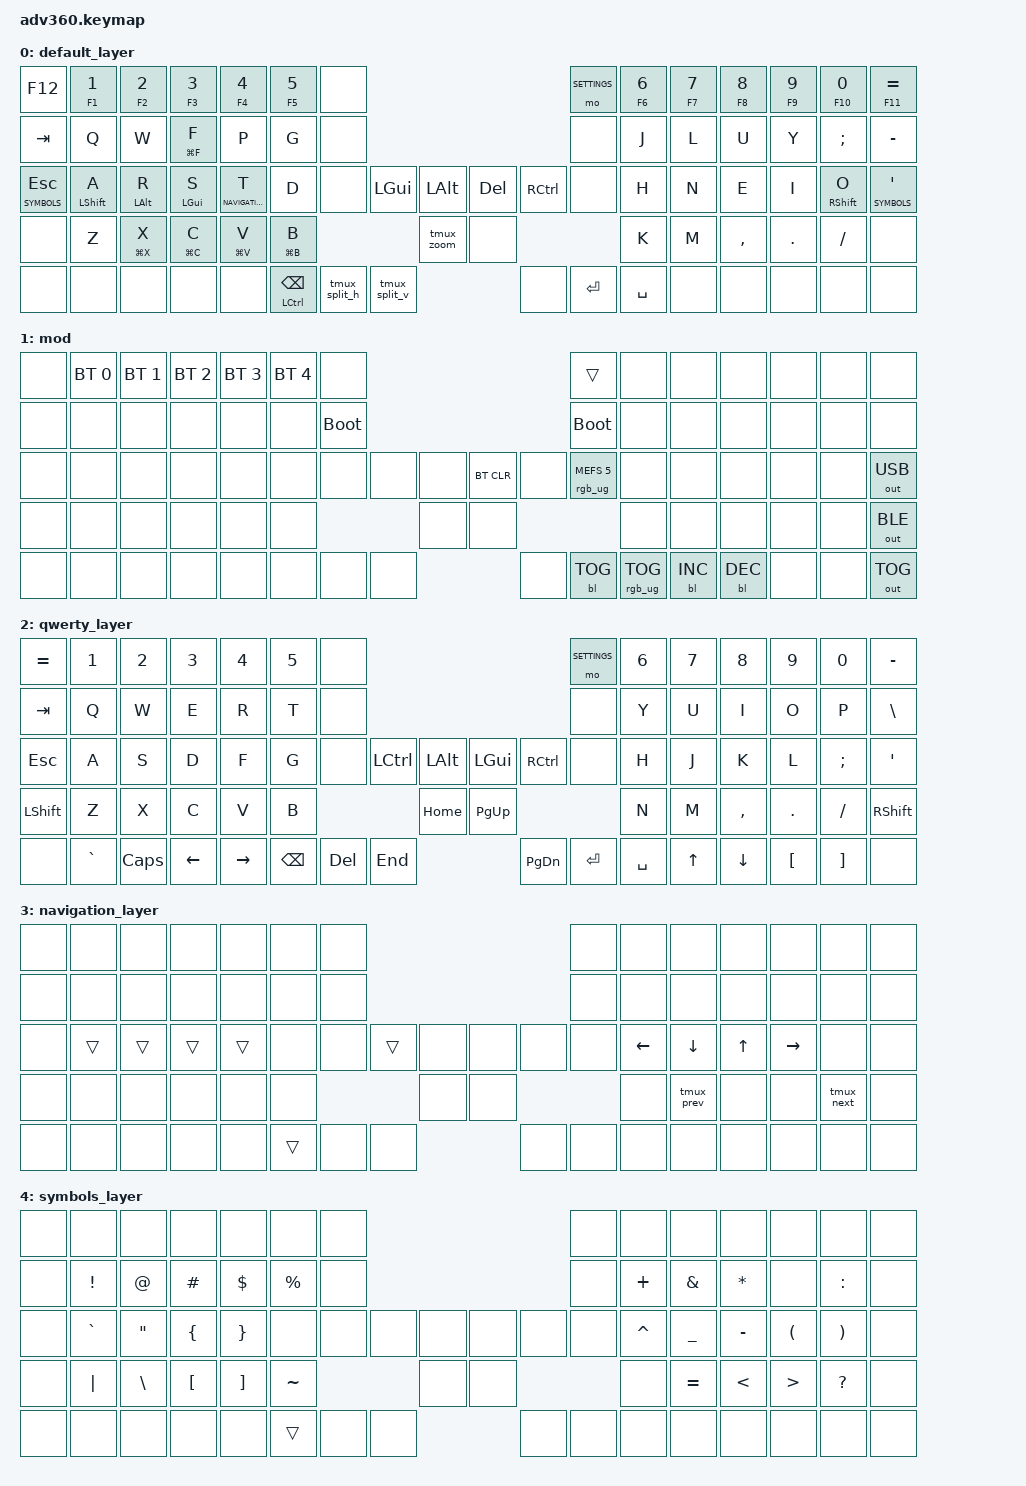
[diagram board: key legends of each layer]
#include <behaviors.dtsi>
#include <dt-bindings/zmk/keys.h>
#include <dt-bindings/zmk/bt.h>
#include <dt-bindings/zmk/rgb.h>
#include <dt-bindings/zmk/backlight.h>
#include <dt-bindings/zmk/outputs.h>

#define DEFAULT    0
#define SETTINGS   1
#define QWERTY     2
#define NAVIGATION 3
#define SYMBOLS    4

// NOTES:
// * 'tapping-term-ms':
//   - Increase value if triggers the hold action when you meant to tap
//   - Decrease value if it feels too long for hold action to trigger
#define DEFAULT_TT 150

// NOTES:
// * 'quick-tap-ms':
//   - Allows to repeart tap functionality of the 'hold-tap' key by holding it after
//     the initial press.
//   - Increase value if you can't get a key to repeat after press-hold action.
#define DEFAULT_QT 200

/ {
    behaviors {
      #include "macros.dtsi"

      tht: tap_hold_tag {
          compatible = "zmk,behavior-hold-tap";
          label = "tap_hold_tag";
          #binding-cells = <2>;
          tapping-term-ms = <DEFAULT_TT>;
          quick-tap-ms = <DEFAULT_QT>;
          flavor = "tap-preferred";
          bindings = <&kp>, <&kp>;
      };
      bht: balanced_hold_tap {
          compatible = "zmk,behavior-hold-tap";
          label = "balanced_hold_tap";
          #binding-cells = <2>;
          tapping-term-ms = <DEFAULT_TT>;
          quick-tap-ms = <DEFAULT_QT>;
          flavor = "balanced";
          bindings = <&kp>, <&kp>;
      };
      tlt: tap_layer_tap {
          compatible = "zmk,behavior-hold-tap";
          label = "tap_layer_tap";
          #binding-cells = <2>;
          tapping-term-ms = <DEFAULT_TT>;
          quick-tap-ms = <DEFAULT_QT>;
          flavor = "tap-preferred";
          bindings = <&mo>, <&kp>;
      };
      blt: balanced_layer_tap {
          compatible = "zmk,behavior-hold-tap";
          label = "BALANCED_LAYER_TAP";
          #binding-cells = <2>;
          tapping-term-ms = <DEFAULT_TT>;
          quick-tap-ms = <DEFAULT_QT>;
          flavor = "balanced";
          bindings = <&mo>, <&kp>;
      };
    };
    macros {
      ZMK_MACRO(tmux_prev,
          wait-ms = <30>;
          tap-ms = <40>;
          bindings
            = <&macro_press &kp LALT>
            , <&macro_tap &kp LEFT>
            , <&macro_release &kp LALT>
            ;
      )
      ZMK_MACRO(tmux_next,
          wait-ms = <30>;
          tap-ms = <40>;
          bindings
            = <&macro_press &kp LALT>
            , <&macro_tap &kp RIGHT>
            , <&macro_release &kp LALT>
            ;
      )
      ZMK_MACRO(tmux_split_v,
          wait-ms = <30>;
          tap-ms = <40>;
          bindings
            = <&macro_press &kp LCTRL>
            , <&macro_tap &kp B>
            , <&macro_release &kp LCTRL>
            , <&macro_tap &kp BACKSLASH &kp ESC &kp I>
            ;
      )
      ZMK_MACRO(tmux_split_h,
          wait-ms = <30>;
          tap-ms = <40>;
          bindings
            = <&macro_press &kp LCTRL>
            , <&macro_tap &kp B>
            , <&macro_release &kp LCTRL>
            , <&macro_tap &kp MINUS &kp ESC &kp I>
            ;
      )
      ZMK_MACRO(tmux_zoom,
          wait-ms = <30>;
          tap-ms = <40>;
          bindings
            = <&macro_press &kp LCTRL>
            , <&macro_tap &kp B>
            , <&macro_release &kp LCTRL>
            , <&macro_tap &kp Z>
            ;
      )
    };

  #define __SYM_ESC__   &blt SYMBOLS ESC
  #define __SYM_QUOTE__ &blt SYMBOLS SINGLE_QUOTE

  #define __0__ &tht F10 N0
  #define __1__ &tht F1  N1
  #define __2__ &tht F2  N2
  #define __3__ &tht F3  N3
  #define __4__ &tht F4  N4
  #define __5__ &tht F5  N5
  #define __6__ &tht F6  N6
  #define __7__ &tht F7  N7
  #define __8__ &tht F8  N8
  #define __9__ &tht F9  N9

  #define __A__ &bht LSHFT A
  #define __B__ &tht LG(B) B
  #define __C__ &tht LG(C) C
  #define __D__ &kp D
  #define __E__ &kp E
  #define __F__ &tht LG(F) F
  #define __G__ &kp G
  #define __H__ &kp H
  #define __I__ &kp I
  #define __J__ &kp J
  #define __K__ &kp K
  #define __L__ &kp L
  #define __M__ &kp M
  #define __N__ &kp N
  #define __O__ &bht RSHFT O
  #define __P__ &kp P
  #define __Q__ &kp Q
  #define __R__ &tht LALT  R
  #define __S__ &tht LGUI  S
  #define __T__ &blt NAVIGATION T
  #define __U__ &kp U
  #define __V__ &tht LG(V) V
  #define __W__ &kp W
  #define __X__ &tht LG(X) X
  #define __Y__ &kp Y
  #define __Z__ &kp Z


  keymap {
    compatible = "zmk,keymap";

    default_layer {
      bindings = <
        &kp F12       __1__   __2__   __3__   __4__   __5__ &none                                                                            &mo SETTINGS __6__   __7__   __8__       __9__     __0__      &tht F11 EQUAL
        &kp TAB       __Q__   __W__   __F__   __P__   __G__ &none                                                                            &none        __J__   __L__   __U__       __Y__     &kp SEMI   &kp MINUS
        __SYM_ESC__   __A__   __R__   __S__   __T__   __D__ &none                     &kp LGUI  &kp LALT      &kp DELETE &kp RCTRL           &none        __H__   __N__   __E__       __I__     __O__      __SYM_QUOTE__
        &none         __Z__   __X__   __C__   __V__   __B__                                     &tmux_zoom    &none                                       __K__   __M__   &kp COMMA   &kp DOT   &kp FSLH   &none
        &none         &none   &none   &none   &none               &tht LCTRL BSPC &tmux_split_h &tmux_split_v &none      &kp ENTER &kp SPACE                      &none   &none       &none     &none      &none
      >;
    };
    mod {
      bindings = <
        &none &bt BT_SEL 0 &bt BT_SEL 1 &bt BT_SEL 2 &bt BT_SEL 3 &bt BT_SEL 4 &none                                                                     &trans                 &none        &none        &none        &none &none &none
        &none &none        &none        &none        &none        &none        &bootloader                                                               &bootloader            &none        &none        &none        &none &none &none
        &none &none        &none        &none        &none        &none        &none                   &none &none &bt BT_CLR &none                      &rgb_ug RGB_MEFS_CMD 5 &none        &none        &none        &none &none &out OUT_USB
        &none &none        &none        &none        &none        &none                                      &none &none                                                        &none        &none        &none        &none &none &out OUT_BLE
        &none &none        &none        &none        &none                                       &none &none &none &none      &bl BL_TOG &rgb_ug RGB_TOG                                     &bl BL_INC   &bl BL_DEC   &none &none &out OUT_TOG
      >;
    };
    qwerty_layer {
      bindings = <
        &kp EQUAL &kp N1    &kp N2   &kp N3   &kp N4    &kp N5 &none                                                           &mo SETTINGS &kp N6 &kp N7 &kp N8    &kp N9   &kp N0   &kp MINUS
        &kp TAB   &kp Q     &kp W    &kp E    &kp R     &kp T  &none                                                           &none        &kp Y  &kp U  &kp I     &kp O    &kp P    &kp BSLH
        &kp ESC   &kp A     &kp S    &kp D    &kp F     &kp G  &none          &kp LCTRL &kp LALT &kp LGUI  &kp RCTRL           &none        &kp H  &kp J  &kp K     &kp L    &kp SEMI &kp SQT
        &kp LSHFT &kp Z     &kp X    &kp C    &kp V     &kp B                           &kp HOME &kp PG_UP                                  &kp N  &kp M  &kp COMMA &kp DOT  &kp FSLH &kp RSHFT
        &none     &kp GRAVE &kp CAPS &kp LEFT &kp RIGHT              &kp BSPC &kp DEL   &kp END  &kp PG_DN &kp ENTER &kp SPACE                     &kp UP &kp DOWN  &kp LBKT &kp RBKT &none
      >;
    };
    navigation_layer {
      bindings = <
        &none &none  &none  &none  &none  &none &none                                       &none &none    &none      &none  &none     &none      &none
        &none &none  &none  &none  &none  &none &none                                       &none &none    &none      &none  &none     &none      &none
        &none &trans &trans &trans &trans &none &none        &trans &none &none &none       &none &kp LEFT &kp DOWN   &kp UP &kp RIGHT &none      &none
        &none &none  &none  &none  &none  &none                     &none &none                   &none    &tmux_prev &none  &none     &tmux_next &none
        &none &none  &none  &none  &none              &trans &none  &none &none &none &none                &none      &none  &none     &none      &none
      >;
    };
    symbols_layer {
      bindings = <
        &none &none           &none             &none            &none             &none       &none                                      &none &none     &none          &none         &none                &none                 &none
        &none &kp EXCLAMATION &kp AT_SIGN       &kp HASH         &kp DOLLAR        &kp PERCENT &none                                      &none &kp PLUS  &kp AMPERSAND  &kp ASTERISK  &none                &kp COLON             &none
        &none &kp GRAVE       &kp DOUBLE_QUOTES &kp LEFT_BRACE   &kp RIGHT_BRACE   &none       &none        &none &none &none &none       &none &kp CARET &kp UNDERSCORE &kp MINUS     &kp LEFT_PARENTHESIS &kp RIGHT_PARENTHESIS &none
        &none &kp PIPE        &kp BACKSLASH     &kp LEFT_BRACKET &kp RIGHT_BRACKET &kp TILDE                      &none &none                   &none     &kp EQUAL      &kp LESS_THAN &kp GREATER_THAN     &kp QUESTION          &none
        &none &none           &none             &none            &none                               &trans &none &none &none &none &none                 &none          &none         &none                &none                 &none
      >;
    };
  };
};
